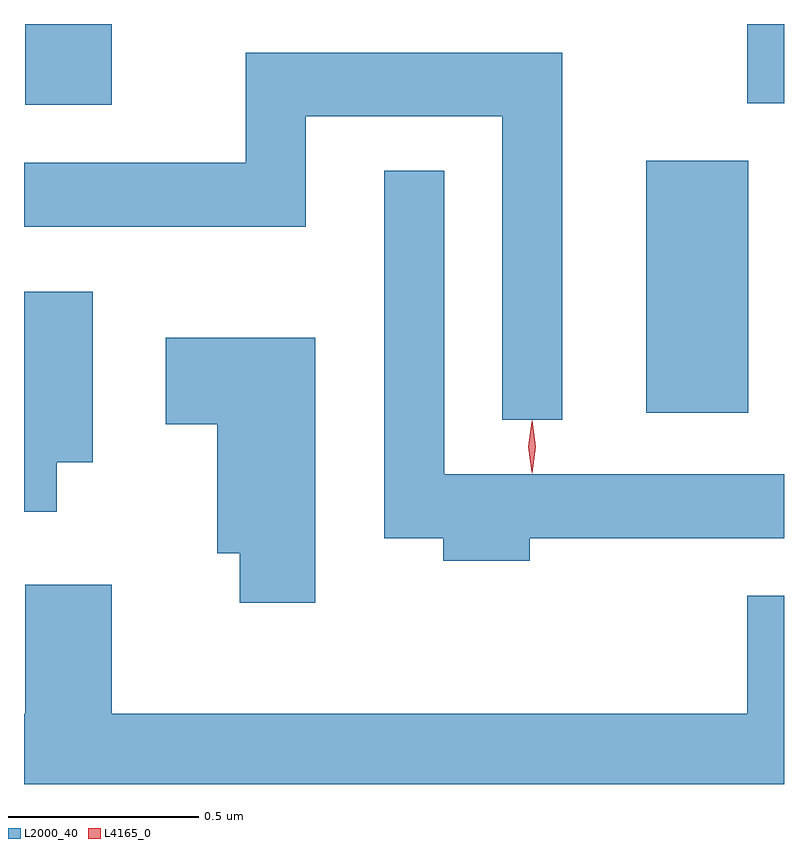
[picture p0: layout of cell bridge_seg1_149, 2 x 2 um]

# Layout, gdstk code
import gdstk
lib = gdstk.Library(unit=1e-6, precision=1e-09)
def R(c, l, rs):  # rectangles x0, y0, x1, y1
    for r in rs: c.add(gdstk.rectangle(r[:2], r[2:], *l))
def P(c, l, *ps):  # polygons
    for p in ps: c.add(gdstk.Polygon(p, *l))
L2000_40 = (2000, 40)
L4165_0 = (4165, 0)

bridge_seg1_149 = lib.new_cell('bridge_seg1_149')
R(bridge_seg1_149, L2000_40, [(843.146,913.956,843.414,914.619), (841.511,914.766,841.739,914.979), (843.411,914.771,843.508,914.979)])
P(bridge_seg1_149, L2000_40, [(842.924,914.904),(842.091,914.904),(842.091,914.614),(841.508,914.614),(841.508,914.446),(842.249,914.446),(842.249,914.736),(842.766,914.736),(842.766,913.938),(842.924,913.938)],
  [(842.839,913.626),(843.508,913.626),(843.508,913.794),(842.614,913.794),(842.614,914.593),(842.456,914.593),(842.456,913.626),(842.611,913.626),(842.611,913.566),(842.839,913.566)],
  [(841.594,913.826),(841.689,913.826),(841.689,914.274),(841.508,914.274),(841.508,913.696),(841.594,913.696)],
  [(842.274,914.154),(841.881,914.154),(841.881,913.926),(842.016,913.926),(842.016,913.586),(842.076,913.586),(842.076,913.456),(842.274,913.456)],
  [(843.508,913.474),(843.411,913.474),(843.411,913.164),(841.739,913.164),(841.739,913.504),(841.511,913.504),(841.511,913.164),(841.508,913.164),(841.508,912.979),(843.508,912.979)])
P(bridge_seg1_149, L4165_0, [(842.845,913.797),(842.845,913.797),(842.835,913.867),(842.845,913.936),(842.845,913.936),(842.846,913.936),(842.855,913.867),(842.846,913.797)],
  [(842.844,913.799),(842.844,913.8),(842.835,913.866),(842.844,913.932),(842.845,913.933),(842.845,913.932),(842.854,913.866),(842.845,913.8)])

lib.write_gds('bridge_seg1_149.gds')
